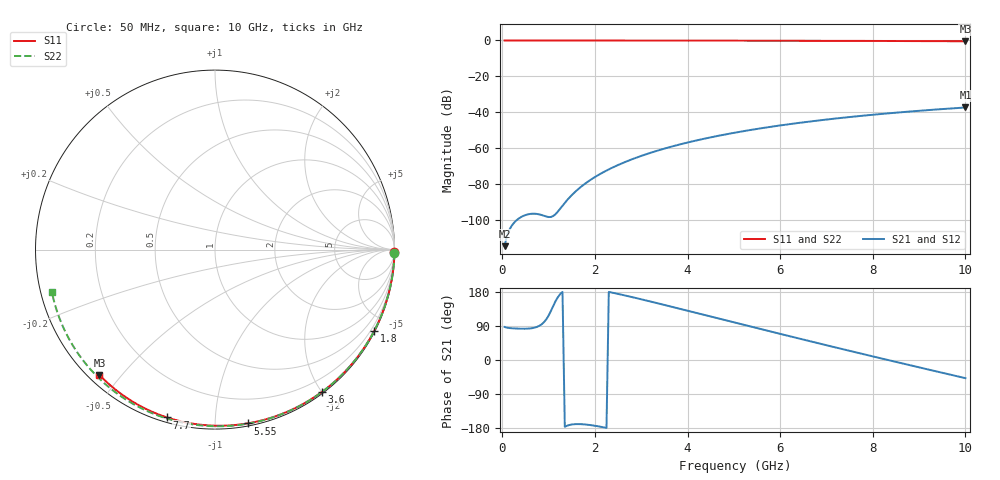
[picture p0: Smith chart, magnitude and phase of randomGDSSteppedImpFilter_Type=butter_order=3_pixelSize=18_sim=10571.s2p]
! freq	dB(S11)	phase(S11)	dB(S12)	phase(S12)
!  dB(S21)	phase(S21)	dB(S22)	phase(S22)
!S-par simulation data
#  GHz  S  DB  R 50
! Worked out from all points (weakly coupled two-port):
!   200 points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, 50 MHz to 10 GHz, reference 50 ohm
!   highest |S21| = -37.30 dB at 10 GHz (marker M1); lowest = -114.5 dB at 50 MHz (marker M2)
!   lowest |S11| = -0.4 dB at 10 GHz (marker M3), VSWR 38.73, Z = 1.54 - j21.9 ohm
!   |S11| at or under -10 dB: nowhere
!   |S22| runs from -0.5 to 0.0 dB; largest |S21 - S12| = 0
!   S11 on the Smith chart (normalised r, x): 50 MHz: open; 1.8 GHz: 0.04, -4.14; 3.6 GHz: 0.02, -2.00; 5.55 GHz: 0.02, -1.20; 7.7 GHz: 0.02, -0.75; 10 GHz: 0.03, -0.44
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0.05  -0.00 -0.8  -114.47 87.2  -114.47 87.2  -0.00 -1.0
0.45  -0.01 -6.9  -97.67 82.5  -97.67 82.5  -0.01 -8.7
0.85  -0.02 -13.0  -97.13 94.2  -97.13 94.2  -0.02 -16.3
1.3  -0.02 -19.7  -91.94 179.6  -91.94 179.6  -0.03 -24.7
1.75  -0.03 -26.4  -80.41 -169.7  -80.41 -169.7  -0.04 -33.1
1.8  -0.03 -27.2  -79.45 -170.2  -79.45 -170.2  -0.04 -34.0
1.95  -0.04 -29.4  -76.82 -172.5  -76.82 -172.5  -0.05 -36.8
2.1  -0.04 -31.6  -74.49 -175.6  -74.49 -175.6  -0.05 -39.5
2.3  -0.04 -34.5  -71.74 179.7  -71.74 179.7  -0.06 -43.2
2.5  -0.05 -37.5  -69.31 174.4  -69.31 174.4  -0.06 -46.8
2.9  -0.06 -43.2  -65.16 163.2  -65.16 163.2  -0.07 -53.9
3.4  -0.07 -50.3  -60.93 148.3  -60.93 148.3  -0.08 -62.7
3.6  -0.07 -53.2  -59.45 142.3  -59.45 142.3  -0.09 -66.1
4.3  -0.09 -62.8  -55.01 120.9  -55.01 120.9  -0.11 -77.9
5.05  -0.11 -72.9  -51.18 97.9  -51.18 97.9  -0.14 -90.2
5.55  -0.13 -79.4  -49.02 82.6  -49.02 82.6  -0.16 -98.1
6.1  -0.15 -86.4  -46.92 65.9  -46.92 65.9  -0.19 -106.7
6.7  -0.18 -93.9  -44.92 47.9  -44.92 47.9  -0.23 -115.8
7.7  -0.24 -106.0  -42.08 18.3  -42.08 18.3  -0.30 -130.8
8.35  -0.29 -113.7  -40.52 -0.7  -40.52 -0.7  -0.36 -140.5
9.2  -0.36 -123.5  -38.74 -25.1  -38.74 -25.1  -0.45 -153.2
10  -0.45 -132.7  -37.30 -47.9  -37.30 -47.9  -0.55 -165.4
